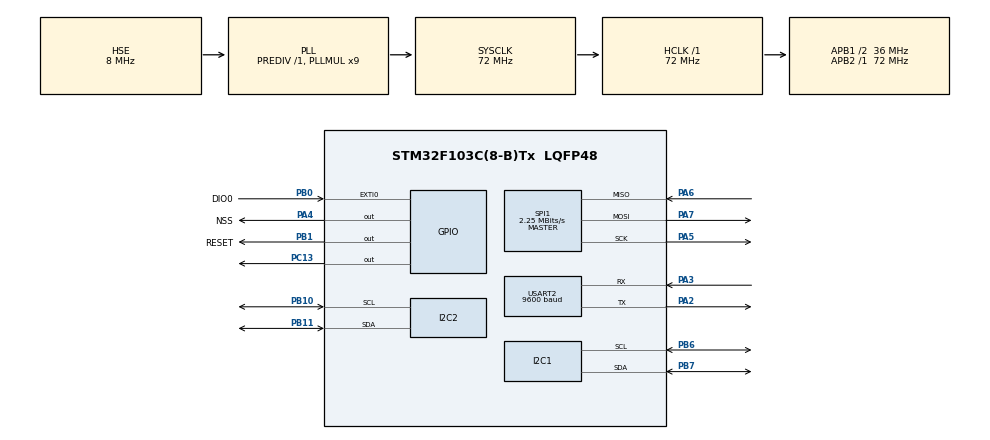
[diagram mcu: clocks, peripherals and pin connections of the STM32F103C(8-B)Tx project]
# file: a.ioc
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I2C2.I2C_Mode=I2C_Fast
Mcu.Family=STM32F1
Mcu.Name=STM32F103C(8-B)Tx
Mcu.Package=LQFP48
NVIC.PriorityGroup=NVIC_PRIORITYGROUP_4
NVIC.USART2_IRQn=true\:0\:0\:false\:false\:true\:true\:true\:true
PA13.Mode=Serial_Wire
PA13.Signal=SYS_JTMS-SWDIO
PA14.Mode=Serial_Wire
PA14.Signal=SYS_JTCK-SWCLK
PA2.Mode=Asynchronous
PA2.Signal=USART2_TX
PA3.Mode=Asynchronous
PA3.Signal=USART2_RX
PA4.GPIO_Label=NSS
PA4.PinState=GPIO_PIN_SET
PA4.Signal=GPIO_Output
PA5.Mode=Full_Duplex_Master
PA5.Signal=SPI1_SCK
PA6.Mode=Full_Duplex_Master
PA6.Signal=SPI1_MISO
PA7.Mode=Full_Duplex_Master
PA7.Signal=SPI1_MOSI
PB0.GPIO_Label=DIO0
PB0.Signal=GPXTI0
PB1.GPIO_Label=RESET
PB1.PinState=GPIO_PIN_SET
PB1.Signal=GPIO_Output
PB10.Mode=I2C
PB10.Signal=I2C2_SCL
PB11.Mode=I2C
PB11.Signal=I2C2_SDA
PB6.Mode=I2C
PB6.Signal=I2C1_SCL
PB7.Mode=I2C
PB7.Signal=I2C1_SDA
PC13-TAMPER-RTC.Signal=GPIO_Output
PD0-OSC_IN.Mode=HSE-External-Oscillator
PD0-OSC_IN.Signal=RCC_OSC_IN
PD1-OSC_OUT.Mode=HSE-External-Oscillator
PD1-OSC_OUT.Signal=RCC_OSC_OUT
ProjectManager.HeapSize=0x200
ProjectManager.StackSize=0x400
ProjectManager.TargetToolchain=STM32CubeIDE
RCC.AHBFreq_Value=72000000
RCC.APB1CLKDivider=RCC_HCLK_DIV2
RCC.APB1Freq_Value=36000000
RCC.APB1TimFreq_Value=72000000
RCC.APB2Freq_Value=72000000
RCC.APB2TimFreq_Value=72000000
RCC.HCLKFreq_Value=72000000
RCC.PLLMUL=RCC_PLL_MUL9
RCC.PLLSourceVirtual=RCC_PLLSOURCE_HSE
RCC.SYSCLKFreq_VALUE=72000000
RCC.SYSCLKSource=RCC_SYSCLKSOURCE_PLLCLK
RCC.USBFreq_Value=48000000
RCC.USBPrescaler=RCC_USBCLKSOURCE_PLL_DIV1_5
SPI1.BaudRatePrescaler=SPI_BAUDRATEPRESCALER_32
SPI1.CalculateBaudRate=2.25 MBits/s
SPI1.Direction=SPI_DIRECTION_2LINES
SPI1.Mode=SPI_MODE_MASTER
SPI1.VirtualType=VM_MASTER
USART2.BaudRate=9600
USART2.VirtualMode=VM_ASYNC
board=custom

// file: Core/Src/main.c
/* USER CODE BEGIN Header */
/**
  ******************************************************************************
  * @file           : main.c
  * @brief          : Main program body
  ******************************************************************************
  * @attention
  *
  * Copyright (c) 2022 STMicroelectronics.
  * All rights reserved.
  *
  * This software is licensed under terms that can be found in the LICENSE file
  * in the root directory of this software component.
  * If no LICENSE file comes with this software, it is provided AS-IS.
  *
  ******************************************************************************
  */
/* USER CODE END Header */
#include "main.h"
#include "i2c.h"
#include "spi.h"
#include "usart.h"
#include "gpio.h"

/* USER CODE BEGIN Includes */
#include <stdio.h>
#include "SX1278.h"
#include "bmp085.h"
#include <stdlib.h>
#include <string.h>
/* USER CODE END Includes */

/* USER CODE BEGIN PD */
#define M_PI 3.14159265358979323846
/* USER CODE END PD */

/* USER CODE BEGIN PV */
float Temperature, Pressure, SeaLevelPressure, Altitude;

int ret;

char buffer[150];

int message;
int message_length;

int32_t acc_x, acc_y, acc_z, gyro_x, gyro_y, gyro_z;
float calacc_x, calacc_y, calacc_z, temperature, caltemperature, calgyro_x, calgyro_y, calgyro_z;
double pitch, roll, yaw;

uint8_t Rx_tempData[128];
uint8_t Rx_data[128];  //  creating a buffer of 512 bytes
uint8_t Rx_index = 0;

uint8_t receivedString[128];

uint8_t flag = 0;

//char* Message_ID;
//char* Time;
//char* Data_Valid;
//char* Raw_Latitude;
//char* N_S;
//char* Raw_Longitude;
//char* E_W;
//char* Speed;
//char* COG;
//char* Date;
//char* Magnetic_Variation;
//char* M_E_W;
char* Positioning_Mode;

char* Message_ID;
char* UTC_Of_Position;
char* Raw_Latitude;
char* N_S;
char* Raw_Longitude;
char* E_W;
char* Quality_Indicator;
char* Num_Of_Satellites;
char* HDOP;
char* Antenna_Altitude;
char* A_A_M;
char* Geoidal_Seperation;
char* G_S_M;
char* AoDC;
char* DRS_ID;
/* USER CODE END PV */

void SystemClock_Config(void);
/* USER CODE BEGIN PFP */
void setup_mpu_6050_registers(void);
void read_mpu_6050_data(void);

void Send_AccAll(void);
void Send_TempPresAlt(void);
void Send_MPUTemp(void);
void Send_Gyro(void);
void Send_PitchRollYaw(void);

void GPS_Parse(void);
char *strtok_f (char *s, char delim);
char *strtok_fr (char *s, char delim, char **save_ptr);

void Send_All(void);
/* USER CODE END PFP */

/* USER CODE BEGIN 0 */
SX1278_hw_t SX1278_hw;
SX1278_t SX1278;
/* USER CODE END 0 */

int main(void)
{

  /* MCU Configuration--------------------------------------------------------*/

  /* Reset of all peripherals, Initializes the Flash interface and the Systick. */
  HAL_Init();

  /* Configure the system clock */
  SystemClock_Config();

  /* Initialize all configured peripherals */
  MX_GPIO_Init();
  MX_SPI1_Init();
  MX_I2C1_Init();
  MX_I2C2_Init();
  MX_USART2_UART_Init();
  /* USER CODE BEGIN 2 */
  setup_mpu_6050_registers();
  read_mpu_6050_data();
  bmpBegin(BMP085_STANDARD, &hi2c2);
  HAL_UART_Receive_IT(&huart2, Rx_tempData, 1);

  SX1278_hw.dio0.port = DIO0_GPIO_Port;
  SX1278_hw.dio0.pin = DIO0_Pin;
  SX1278_hw.nss.port = NSS_GPIO_Port;
  SX1278_hw.nss.pin = NSS_Pin;
  SX1278_hw.reset.port = RESET_GPIO_Port;
  SX1278_hw.reset.pin = RESET_Pin;
  SX1278_hw.spi = &hspi1;

  SX1278.hw = &SX1278_hw;

  SX1278_begin(&SX1278, SX1278_433MHZ, SX1278_POWER_17DBM, SX1278_LORA_SF_8,
  				SX1278_LORA_BW_20_8KHZ, 10);

  ret = SX1278_LoRaEntryTx(&SX1278, 150, 1500);
  /* USER CODE END 2 */

  /* Infinite loop */
  /* USER CODE BEGIN WHILE */
  while (1)
  {
//	  read_mpu_6050_data();
//	  if (flag == '$')
//	  	  {
//		  	  Send_All();
//	  		  HAL_Delay(15000);
//	  	  }
//	  HAL_GPIO_TogglePin(GPIOC, GPIO_PIN_13);

	HAL_Delay(250);
	read_mpu_6050_data();
	HAL_Delay(250);
	Send_TempPresAlt();
	HAL_Delay(1050);
	Send_AccAll();
	HAL_Delay(1050);
	Send_Gyro();
	HAL_Delay(1050);
	Send_PitchRollYaw();
	HAL_Delay(1050);
	Send_MPUTemp();
	HAL_GPIO_TogglePin(GPIOC, GPIO_PIN_13);
	HAL_Delay(850);

	if (flag == '$')
	  {
		  GPS_Parse();
		  HAL_Delay(850);
	  }

//	read_mpu_6050_data();
//	HAL_Delay(250);
//	Send_TempPresAlt();
//	HAL_Delay(1050);
//	Send_AccAll();
//	HAL_Delay(1050);
//	Send_Gyro();
//	HAL_Delay(1050);
//	Send_MPUTemp();
//	HAL_GPIO_TogglePin(GPIOC, GPIO_PIN_13);
//	HAL_Delay(850);
//
//	if (flag == '$')
//	  {
//		  GPS_Parse();
//		  HAL_Delay(650);
//	  }

//	read_mpu_6050_data();
//	HAL_Delay(250);
//	Send_TempPresAlt();
//	HAL_Delay(1050);
//	Send_AccAll();
//	HAL_Delay(1050);
//	Send_Gyro();
//	HAL_Delay(950);
//	Send_MPUTemp();
//	HAL_GPIO_TogglePin(GPIOC, GPIO_PIN_13);
//	HAL_Delay(650);
//
//	if (flag == '$')
//	  {
//		  GPS_Parse();
//		  HAL_Delay(450);
//	  }

    /* USER CODE END WHILE */

  }
}

void SystemClock_Config(void)
{
  RCC_OscInitTypeDef RCC_OscInitStruct = {0};
  RCC_ClkInitTypeDef RCC_ClkInitStruct = {0};

  /** Initializes the RCC Oscillators according to the specified parameters
  * in the RCC_OscInitTypeDef structure.
  */
  RCC_OscInitStruct.OscillatorType = RCC_OSCILLATORTYPE_HSE;
  RCC_OscInitStruct.HSEState = RCC_HSE_ON;
  RCC_OscInitStruct.HSEPredivValue = RCC_HSE_PREDIV_DIV1;
  RCC_OscInitStruct.HSIState = RCC_HSI_ON;
  RCC_OscInitStruct.PLL.PLLState = RCC_PLL_ON;
  RCC_OscInitStruct.PLL.PLLSource = RCC_PLLSOURCE_HSE;
  RCC_OscInitStruct.PLL.PLLMUL = RCC_PLL_MUL9;
  if (HAL_RCC_OscConfig(&RCC_OscInitStruct) != HAL_OK)
  {
    Error_Handler();
  }

  /** Initializes the CPU, AHB and APB buses clocks
  */
  RCC_ClkInitStruct.ClockType = RCC_CLOCKTYPE_HCLK|RCC_CLOCKTYPE_SYSCLK
                              |RCC_CLOCKTYPE_PCLK1|RCC_CLOCKTYPE_PCLK2;
  RCC_ClkInitStruct.SYSCLKSource = RCC_SYSCLKSOURCE_PLLCLK;
  RCC_ClkInitStruct.AHBCLKDivider = RCC_SYSCLK_DIV1;
  RCC_ClkInitStruct.APB1CLKDivider = RCC_HCLK_DIV2;
  RCC_ClkInitStruct.APB2CLKDivider = RCC_HCLK_DIV1;

  if (HAL_RCC_ClockConfig(&RCC_ClkInitStruct, FLASH_LATENCY_2) != HAL_OK)
  {
    Error_Handler();
  }
}

/* USER CODE BEGIN 4 */
void Send_AccAll(void) {

	message_length = sprintf(buffer, "Ax:%.3f\r\nAy:%.3f\r\nAz:%.3f\r\n", calacc_x, calacc_y, calacc_z);
	ret = SX1278_LoRaEntryTx(&SX1278, message_length, 500);
	ret = SX1278_LoRaTxPacket(&SX1278, (uint8_t *) buffer, message_length, 500);
	return;
}

void Send_MPUTemp(void) {

	message_length = sprintf(buffer, "MPUTmp: %.2f\r\n\r\n", caltemperature);
	ret = SX1278_LoRaEntryTx(&SX1278, message_length, 500);
	ret = SX1278_LoRaTxPacket(&SX1278, (uint8_t *) buffer, message_length, 500);
	return;
}

void Send_Gyro(void) {

	message_length = sprintf(buffer, "Gx:%.3f\r\nGy:%.3f\r\nGz:%.3f\r\n", calgyro_x, calgyro_y, calgyro_z);
	ret = SX1278_LoRaEntryTx(&SX1278, message_length, 450);
	ret = SX1278_LoRaTxPacket(&SX1278, (uint8_t *) buffer, message_length, 450);
	return;
}

void Send_PitchRollYaw(void) {
	message_length = sprintf(buffer, "Pi:%.3f\r\nRo:%.3f\r\nYa:%.3f\r\n", pitch, roll, yaw);
	ret = SX1278_LoRaEntryTx(&SX1278, message_length, 550);
	ret = SX1278_LoRaTxPacket(&SX1278, (uint8_t *) buffer, message_length, 550);
	return;
}

void Send_TempPresAlt(void) {

	Temperature = readBMPTemperature();
	Pressure = readBMPPressure();
	Altitude = readBMPAbsoluteAltitude();

	message_length = sprintf(buffer, "Temp: %.2f\r\nPres: %d\r\nAlt: %d\r\n", Temperature, (int)Pressure, (int)Altitude);
	ret = SX1278_LoRaEntryTx(&SX1278, message_length, 550);
	ret = SX1278_LoRaTxPacket(&SX1278, (uint8_t *) buffer, message_length, 550);
	return;
}

void read_mpu_6050_data(void){                                         //Subroutine for reading the raw gyro and accelerometer data
uint8_t datam[20];

datam[0]=0x3B; HAL_I2C_Master_Transmit(&hi2c1 ,0xd0,datam,1,5);
HAL_I2C_Master_Receive(&hi2c1 ,0xd1,datam,14,5);

acc_x = ((datam[0]<<8)|datam[1])&0xffff;   if (datam[0]&0x80) acc_x|=0xffff0000;
acc_y = ((datam[2]<<8)|datam[3])&0xffff;   if (datam[2]&0x80) acc_y|=0xffff0000;
acc_z = ((datam[4]<<8)|datam[5])&0xffff;   if (datam[4]&0x80) acc_z|=0xffff0000;

temperature = ((int16_t)datam[6]<<8)|datam[7];

gyro_x = datam[8]<<8|datam[9];   if (datam[8]&0x80) gyro_x|=0xffff0000;
gyro_y = datam[10]<<8|datam[11]; if (datam[10]&0x80) gyro_y|=0xffff0000;
gyro_z = datam[12]<<8|datam[13]; if (datam[12]&0x80) gyro_z|=0xffff0000;

calacc_x = ((float) -acc_x) * 8.0 / (float) 0x8000;
calacc_y = ((float) -acc_y) * 8.0 / (float) 0x8000;
calacc_z = ((float) -acc_z) * 8.0 / (float) 0x8000;

//temperature = datam[6]<<8|datam[7];
// caltemperature = temperature / 100;
caltemperature = ((float) temperature) / 333.87 + 21.0;

gyro_x = datam[8]<<8|datam[9];   if (datam[8]&0x80) gyro_x|=0xffff0000;
gyro_y = datam[10]<<8|datam[11]; if (datam[10]&0x80) gyro_y|=0xffff0000;
gyro_z = datam[12]<<8|datam[13]; if (datam[12]&0x80) gyro_z|=0xffff0000;

calgyro_x = ((float) -gyro_x) * 500.0 / (float) 0x8000;
calgyro_y = ((float) -gyro_y) * 500.0 / (float) 0x8000;
calgyro_z = ((float) -gyro_z) * 500.0 / (float) 0x8000;

pitch = 180 * atan(acc_x/sqrt(acc_y*acc_y + acc_z*acc_z))/M_PI;
roll = 180 * atan(acc_y/sqrt(acc_x*acc_x + acc_z*acc_z))/M_PI;
yaw = 2*(180 * atan (acc_z/sqrt(acc_x*acc_x + acc_z*acc_z))/M_PI);

}
void setup_mpu_6050_registers(void){
uint8_t data[20];

data[0]=0x6b; data[1]=0x00; HAL_I2C_Master_Transmit(&hi2c1 ,0xd0,data,2,50); //Activate the MPU-6050
data[0]=0x37; data[1]=0x02; HAL_I2C_Master_Transmit(&hi2c1 ,0xd0,data,2,50); //Registers for Bypass Mode:
data[0]=0x6a; data[1]=0x00; HAL_I2C_Master_Transmit(&hi2c1 ,0xd0,data,2,50);

data[0]=0x1c; data[1]=0x10; HAL_I2C_Master_Transmit(&hi2c1 ,0xd0,data,2,50); //Configure the accelerometer (+/-8g)
data[0]=0x1b; data[1]=0x08; HAL_I2C_Master_Transmit(&hi2c1 ,0xd0,data,2,50); //Configure the gyro (500dps full scale)
}

// GPGGA with Altitude Information

void HAL_UART_RxCpltCallback(UART_HandleTypeDef *huart)
{
	if (huart == &huart2) {
		switch(Rx_index) {
		case 0:
			if(Rx_tempData[0] == '$')
			{
				Rx_data[Rx_index] = Rx_tempData[0];
				Rx_index++;
			} else {
				Rx_index = 0;
			}
			break;
		case 1:
			if(Rx_tempData[0] == 'G')
			{
				Rx_data[Rx_index] = Rx_tempData[0];
				Rx_index++;
			} else {
				Rx_index = 0;
			}
			break;
		case 2:
			if(Rx_tempData[0] == 'P')
			{
				Rx_data[Rx_index] = Rx_tempData[0];
				Rx_index++;
			} else {
				Rx_index = 0;
			}
			break;
		case 3:
			if(Rx_tempData[0] == 'G')
			{
				Rx_data[Rx_index] = Rx_tempData[0];
				Rx_index++;
			} else {
				Rx_index = 0;
			}
			break;
		case 4:
			if(Rx_tempData[0] == 'G')
			{
				Rx_data[Rx_index] = Rx_tempData[0];
				Rx_index++;
			} else {
				Rx_index = 0;
			}
			break;
		case 5:
			if(Rx_tempData[0] == 'A')
			{
				Rx_data[Rx_index] = Rx_tempData[0];
				Rx_index++;
			} else {
				Rx_index = 0;
			}
			break;
		case 6:

		default:
			Rx_data[Rx_index] = Rx_tempData[0];
			if(Rx_tempData[0] == '\n')
			{
				// kopyalama yapılacak
				memcpy(receivedString, Rx_data, 128);
				flag = '$';
				Rx_index = 0;
			} else {
				Rx_index++;
			}
		}
		HAL_UART_Receive_IT(&huart2, Rx_tempData, 1);
	}
}

// GPRMC

//void HAL_UART_RxCpltCallback(UART_HandleTypeDef *huart)
//{
//	if (huart == &huart2) {
//		switch(Rx_index) {
//		case 0:
//			if(Rx_tempData[0] == '$')
//			{
//				Rx_data[Rx_index] = Rx_tempData[0];
//				Rx_index++;
//			} else {
//				Rx_index = 0;
//			}
//			break;
//		case 1:
//			if(Rx_tempData[0] == 'G')
//			{
//				Rx_data[Rx_index] = Rx_tempData[0];
//				Rx_index++;
//			} else {
//				Rx_index = 0;
//			}
//			break;
//		case 2:
//			if(Rx_tempData[0] == 'P')
//			{
//				Rx_data[Rx_index] = Rx_tempData[0];
//				Rx_index++;
//			} else {
//				Rx_index = 0;
//			}
//			break;
//		case 3:
//			if(Rx_tempData[0] == 'R')
//			{
//				Rx_data[Rx_index] = Rx_tempData[0];
//				Rx_index++;
//			} else {
//				Rx_index = 0;
//			}
//			break;
//		case 4:
//			if(Rx_tempData[0] == 'M')
//			{
//				Rx_data[Rx_index] = Rx_tempData[0];
//				Rx_index++;
//			} else {
//				Rx_index = 0;
//			}
//			break;
//		case 5:
//			if(Rx_tempData[0] == 'C')
//			{
//				Rx_data[Rx_index] = Rx_tempData[0];
//				Rx_index++;
//			} else {
//				Rx_index = 0;
//			}
//			break;
//		case 6:
//
//		default:
//			Rx_data[Rx_index] = Rx_tempData[0];
//			if(Rx_tempData[0] == '\n')
//			{
//				// kopyalama yapılacak
//				memcpy(receivedString, Rx_data, 128);
//				flag = '$';
//				Rx_index = 0;
//			} else {
//				Rx_index++;
//			}
//		}
//		HAL_UART_Receive_IT(&huart2, Rx_tempData, 1);
//	}
//}

void GPS_Parse(void)
{
//	Message_ID = strtok_f((char*)receivedString,',');
//	Time = strtok_f(NULL,',');
//	Data_Valid = strtok_f(NULL,',');
//	Raw_Latitude = strtok_f(NULL,',');
//	N_S = strtok_f(NULL,',');
//	Raw_Longitude = strtok_f(NULL,',');
//	E_W = strtok_f(NULL,',');
//	Speed = strtok_f(NULL,',');
//	COG = strtok_f(NULL,',');
//	Date = strtok_f(NULL,',');
//	Magnetic_Variation = strtok_f(NULL,',');
//	M_E_W = strtok_f(NULL,',');
//	Positioning_Mode = strtok_f(NULL,',');

	Message_ID = strtok_f((char*)receivedString,',');
	UTC_Of_Position = strtok_f(NULL, ',');
	Raw_Latitude = strtok_f(NULL,',');
	N_S = strtok_f(NULL,',');
	Raw_Longitude = strtok_f(NULL,',');
	E_W = strtok_f(NULL,',');
	Quality_Indicator = strtok_f(NULL,',');
	Num_Of_Satellites = strtok_f(NULL,',');
	HDOP = strtok_f(NULL,',');
	Antenna_Altitude = strtok_f(NULL,',');
	A_A_M = strtok_f(NULL,',');
	Geoidal_Seperation = strtok_f(NULL,',');
	G_S_M = strtok_f(NULL,',');
	AoDC = strtok_f(NULL,',');
	DRS_ID = strtok_f(NULL,',');

//	char *GPSParse = malloc(strlen(Raw_Latitude)+strlen(N_S)+strlen(Raw_Longitude)+strlen(E_W)+1);
//	sprintf(GPSParse, "Lat:%s %s\r\nLon:%s %s\r\n", Raw_Latitude, N_S, Raw_Longitude, E_W);

	char *GPSParse = malloc(strlen(Raw_Latitude)+strlen(N_S)+strlen(Raw_Longitude)+strlen(E_W)+strlen(Antenna_Altitude)+strlen(A_A_M)+1);
	sprintf(GPSParse, "Lat:%s %s\r\nLon:%s %s\r\nAAM:%s %s\r\n", Raw_Latitude, N_S, Raw_Longitude, E_W, Antenna_Altitude, A_A_M);

	message_length = sprintf(buffer, "%s", GPSParse);
	ret = SX1278_LoRaEntryTx(&SX1278, message_length, 1650);
	ret = SX1278_LoRaTxPacket(&SX1278, (uint8_t *) buffer, message_length, 1650);

	return;
}

char *strtok_f (char *s, char delim)
{
    static char *save_ptr;

    return strtok_fr (s, delim, &save_ptr);
}

char *strtok_fr (char *s, char delim, char **save_ptr)
{
    char *tail;
    char c;

    if (s == NULL) {
        s = *save_ptr;
    }
    tail = s;
    if ((c = *tail) == '\0') {
        s = NULL;
    }
    else {
        do {
            if (c == delim) {
                *tail++ = '\0';
                break;
           }
        }while ((c = *++tail) != '\0');
    }
    *save_ptr = tail;
    return s;
}
/* USER CODE END 4 */

void Error_Handler(void)
{
  __disable_irq();
  while (1)
  {
  }
}
